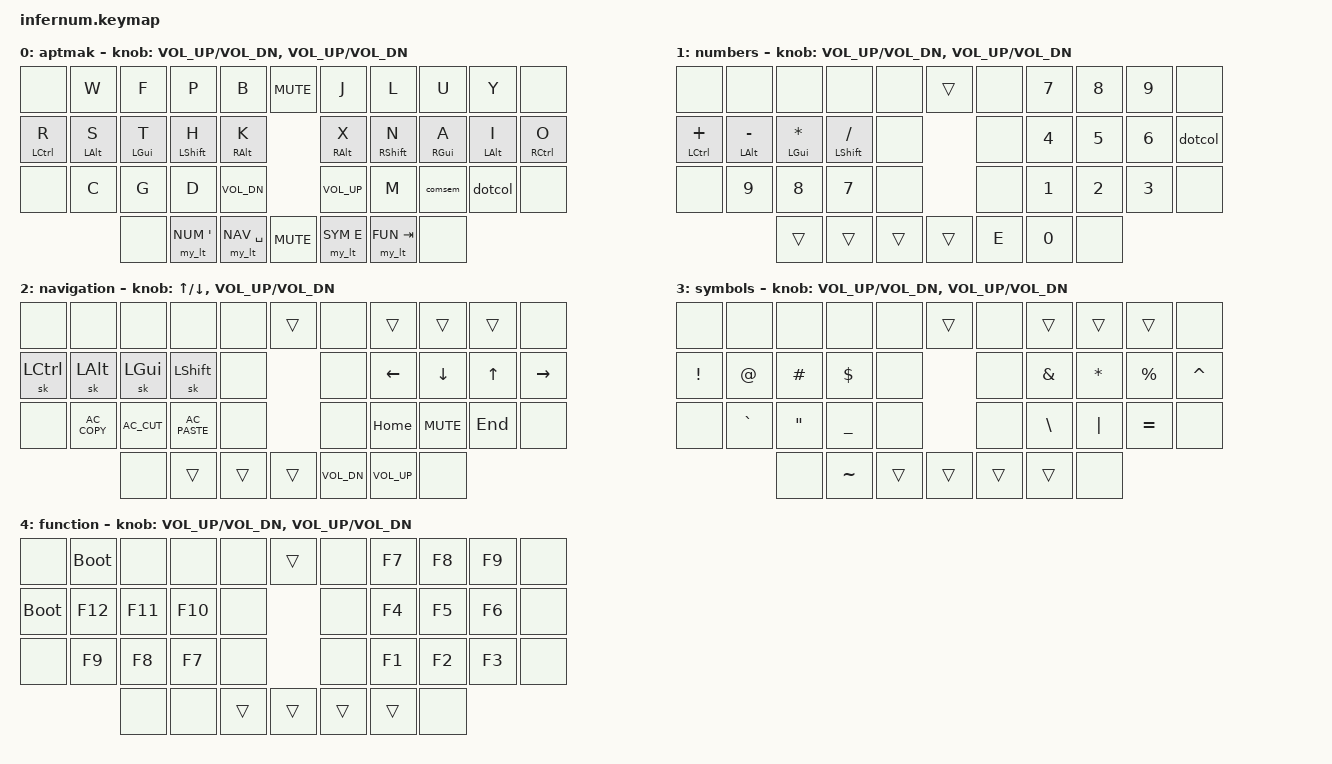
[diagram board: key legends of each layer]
#include <behaviors.dtsi>
#include <dt-bindings/zmk/keys.h>

#define APT 0
#define NUM 1
#define NAV 2
#define SYM 3
#define FUN 4


&caps_word {
    continue-list = <UNDERSCORE MINUS BSPC LSHFT RSHFT>;
};

/ {
    macros {
        macro_shiftable_sch: macro_shiftable_sch {
            compatible = "zmk,behavior-macro";
            #binding-cells = <0>;
            bindings = <
                    &macro_tap &kp S
                    &macro_release &kp RSHIFT
                    &macro_tap &kp C &kp H
            >;
            tap-ms = <10>;
        };
    };
};


#define COMBO(NAME, BINDINGS, KEYPOS) \
combo_##NAME { \
    timeout-ms = <20>; \
    bindings = <BINDINGS>; \
    key-positions = <KEYPOS>; \
};
#define SLOWCOMBO(NAME, BINDINGS, KEYPOS) \
combo_##NAME { \
    timeout-ms = <40>; \
    bindings = <BINDINGS>; \
    key-positions = <KEYPOS>; \
};
#define TCOMBO(NAME, BINDINGS, KEYPOS, TIMEOUT) \
combo_##NAME { \
    timeout-ms = <TIMEOUT>; \
    bindings = <BINDINGS>; \
    key-positions = <KEYPOS>; \
};

//    _________________________________________________________________
//   /   0 /   1 /   2 /   3 /   4 |  5  |   6 \   7 \   8 \   9 \  10 \
//  /  11 /  12 /  13 /  14 /  15  |     |   16 \  17 \  18 \  19 \  20 \
// /  21 /  22 /  23 /  24 /  25 |         |  26 \  27 \  28 \  29 \  30 \
// ---------|  31  |  32  |   33   | 34  |   35   |  36  |  37  |---------

/{
    combos {
        compatible = "zmk,combos";
/* usually on base layer */
        COMBO(q, &kp Q, 2 3)
        COMBO(v, &kp V, 1 2)
        COMBO(z, &kp Z, 22 23)
        COMBO(shiftablesch, &macro_shiftable_sch, 1 3)
        COMBO(enter, &kp ENTER, 27 29)
        COMBO(esc, &kp ESC, 23 24)
        COMBO(semi, &kp SEMICOLON, 28 35)
        COMBO(colon, &kp COLON, 29 35)
        COMBO(minus, &kp MINUS, 27 28)
        COMBO(slash, &kp SLASH, 28 29)
/* parentheticals */
        COMBO(lbrc, &kp LBRC, 1 12)
        COMBO(lbkt, &kp LBKT, 2 13)
        COMBO(lpar, &kp LPAR, 3 14)
        COMBO(lt, &kp LT, 4 15)
        COMBO(rt, &kp GT, 6 16)
        COMBO(rpar, &kp RPAR, 7 16)
        COMBO(rbkt, &kp RBKT, 8 17)
        COMBO(rbrc, &kp RBRC, 9 18)
/* caps */
        COMBO(caps, &caps_word, 14 17)
        COMBO(capslock, &kp CAPSLOCK, 1 9)
/* deletion */
        COMBO(bspc, &kp BSPC, 7 8)
        SLOWCOMBO(del, &kp DEL, 8 9)
        COMBO(delword, &kp LC(BSPC), 7 9)
    };
};

//    _________________________________________________________________
//   /   0 /   1 /   2 /   3 /   4 |  5  |   6 \   7 \   8 \   9 \  10 \
//  /  11 /  12 /  13 /  14 /  15  |     |   16 \  17 \  18 \  19 \  20 \
// /  21 /  22 /  23 /  24 /  25 |         |  26 \  27 \  28 \  29 \  30 \
// ---------|  31  |  32  |   33   | 34  |   35   |  36  |  37  |---------

/ {
    behaviors {
        hl: homerow_mods_left {
            compatible = "zmk,behavior-hold-tap";
            #binding-cells = <2>;
            flavor = "balanced";
            tapping-term-ms = <150>;
            quick-tap-ms = <100>;
            bindings = <&kp>, <&kp>;
            // opposite side hand keys
            hold-trigger-key-positions = <6 7 8 9 10 16 17 18 19 20 26 27 28 29 30 31 32 33 34 35 36>;
        };
        hr: homerow_mods_right {
            compatible = "zmk,behavior-hold-tap";
            #binding-cells = <2>;
            flavor = "balanced";
            tapping-term-ms = <150>;
            quick-tap-ms = <100>;
            bindings = <&kp>, <&kp>;
            // opposite side hand keys
            hold-trigger-key-positions = <0 1 2 3 4 11 12 13 14 15 21 22 23 24 25 31 32 33 34 35 36>;
        };

        my_lt: my_layer_taps {
            compatible = "zmk,behavior-hold-tap";
            #binding-cells = <2>;
            flavor = "tap-preferred";
            tapping-term-ms = <160>;
            quick-tap-ms = <100>;
            bindings = <&mo &kp>, <&kp>;
        };
        dotcol: dot_colon {
            compatible = "zmk,behavior-mod-morph";
            #binding-cells = <0>;
            bindings = <&kp DOT>, <&kp COLON>;
            mods = <(MOD_LSFT|MOD_RSFT)>;
        };
        comsem: comma_semicolon {
            compatible = "zmk,behavior-mod-morph";
            #binding-cells = <0>;
            bindings = <&kp COMMA>, <&kp SEMI>;
            mods = <(MOD_LSFT|MOD_RSFT)>;
        };
    };
};


/ {
    keymap {
        compatible = "zmk,keymap";

        aptmak {
            bindings = <
                &none          &kp W          &kp F          &kp P          &kp B            &kp C_MUTE  &kp J          &kp L          &kp U          &kp Y          &none
                &hl LCTRL R    &hl LALT S     &hl LGUI T     &hl LSHFT H    &hl RALT K                   &hr RALT X     &hr RSHFT N    &hr RGUI A     &hr LALT I     &hr RCTRL O
                &none          &kp C          &kp G          &kp D          &kp C_VOL_DN                 &kp C_VOL_UP   &kp M          &comsem        &dotcol        &none
                                              &none          &my_lt NUM SQT &my_lt NAV SPACE &kp C_MUTE  &my_lt SYM E   &my_lt FUN TAB &none
            >;
            sensor-bindings = <&inc_dec_kp C_VOL_UP C_VOL_DN &inc_dec_kp C_VOL_UP C_VOL_DN>;
        };
        numbers {
            bindings = <
                &none          &none          &none          &none          &none            &trans      &none          &kp N7         &kp N8         &kp N9         &none
                &hl LCTRL PLUS &hl LALT MINUS &hl LGUI STAR  &hl LSHFT SLASH &none                       &none          &kp N4         &kp N5         &kp N6         &dotcol
                &none          &kp N9         &kp N8         &kp N7         &none                        &none          &kp N1         &kp N2         &kp N3         &none
                                              &trans         &trans         &trans           &trans      &kp E          &kp N0         &none
            >;
            sensor-bindings = <&inc_dec_kp C_VOL_UP C_VOL_DN &inc_dec_kp C_VOL_UP C_VOL_DN>;
        };
        navigation {
            bindings = <
                &none          &none          &none          &none          &none            &trans      &none          &trans         &trans         &trans         &none
                &sk LCTRL      &sk LALT       &sk LGUI       &sk LSHFT      &none                        &none          &kp LEFT       &kp DOWN       &kp UP         &kp RIGHT
                &none          &kp C_AC_COPY  &kp C_AC_CUT   &kp C_AC_PASTE &none                        &none          &kp HOME       &kp C_MUTE     &kp END        &none
                                              &none          &trans         &trans           &trans      &kp C_VOL_DN   &kp C_VOL_UP   &none
            >;
            sensor-bindings = <&inc_dec_kp UP DOWN &inc_dec_kp C_VOL_UP C_VOL_DN>;
        };
        symbols {
            bindings = <
                &none          &none          &none          &none          &none            &trans      &none          &trans         &trans         &trans         &none
                &kp EXCL       &kp AT         &kp HASH       &kp DOLLAR     &none                        &none          &kp AMPERSAND  &kp ASTERISK   &kp PERCENT    &kp CARET
                &none          &kp GRAVE      &kp DQT        &kp UNDERSCORE &none                        &none          &kp BACKSLASH  &kp PIPE       &kp EQUAL      &none
                                              &none          &kp TILDE      &trans           &trans      &trans         &trans         &none
            >;
            sensor-bindings = <&inc_dec_kp C_VOL_UP C_VOL_DN &inc_dec_kp C_VOL_UP C_VOL_DN>;
        };
        function {
            bindings = <
                &none          &bootloader    &none          &none          &none            &trans      &none          &kp F7         &kp F8         &kp F9         &none
                &bootloader    &kp F12        &kp F11        &kp F10        &none                        &none          &kp F4         &kp F5         &kp F6         &none
                &none          &kp F9         &kp F8         &kp F7         &none                        &none          &kp F1         &kp F2         &kp F3         &none
                                              &none          &none          &trans           &trans      &trans         &trans         &none
            >;
            sensor-bindings = <&inc_dec_kp C_VOL_UP C_VOL_DN &inc_dec_kp C_VOL_UP C_VOL_DN>;
        };

    };
};
